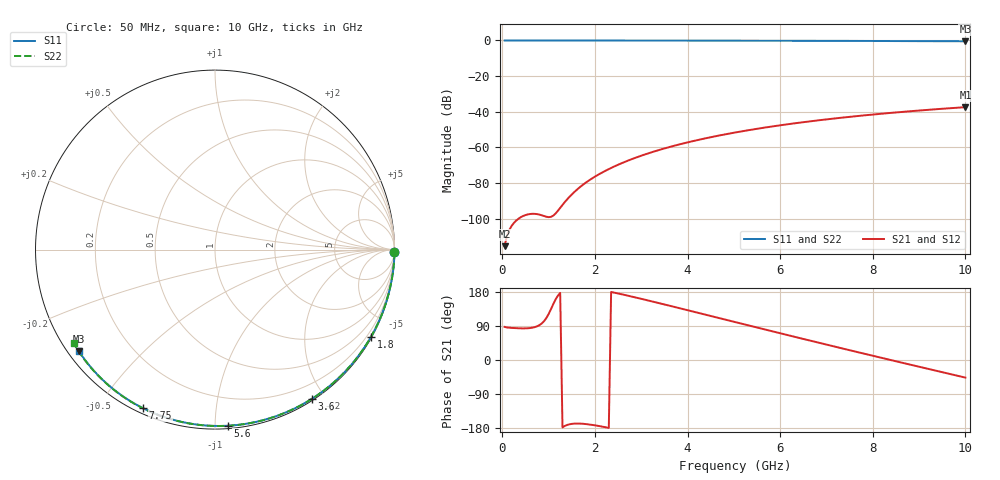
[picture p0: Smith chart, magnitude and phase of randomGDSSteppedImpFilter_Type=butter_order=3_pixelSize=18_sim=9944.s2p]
! freq	dB(S11)	phase(S11)	dB(S12)	phase(S12)
!  dB(S21)	phase(S21)	dB(S22)	phase(S22)
!S-par simulation data
#  GHz  S  DB  R 50
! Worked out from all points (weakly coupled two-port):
!   200 points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, 50 MHz to 10 GHz, reference 50 ohm
!   highest |S21| = -37.40 dB at 10 GHz (marker M1); lowest = -115.4 dB at 50 MHz (marker M2)
!   lowest |S11| = -0.5 dB at 10 GHz (marker M3), VSWR 36.39, Z = 1.53 - j16.6 ohm
!   |S11| at or under -10 dB: nowhere
!   |S22| runs from -0.5 to 0.0 dB; largest |S21 - S12| = 0
!   S11 on the Smith chart (normalised r, x): 50 MHz: open; 1.8 GHz: 0.03, -3.83; 3.6 GHz: 0.02, -1.84; 5.6 GHz: 0.02, -1.07; 7.75 GHz: 0.02, -0.64; 10 GHz: 0.03, -0.33
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0.05  -0.00 -0.8  -115.35 87.4  -115.35 87.4  -0.00 -0.9
0.45  -0.01 -7.4  -98.43 83.4  -98.43 83.4  -0.01 -7.7
0.9  -0.02 -14.8  -98.43 102.3  -98.43 102.3  -0.02 -15.2
1.3  -0.03 -21.3  -92.20 -177.7  -92.20 -177.7  -0.03 -21.9
1.75  -0.04 -28.5  -80.74 -168.4  -80.74 -168.4  -0.04 -29.3
1.8  -0.04 -29.3  -79.78 -169.0  -79.78 -169.0  -0.04 -30.2
1.95  -0.04 -31.6  -77.17 -171.4  -77.17 -171.4  -0.04 -32.6
2.1  -0.04 -34.0  -74.86 -174.4  -74.86 -174.4  -0.04 -35.1
2.3  -0.05 -37.2  -72.12 -179.2  -72.12 -179.2  -0.05 -38.3
2.5  -0.05 -40.3  -69.69 175.6  -69.69 175.6  -0.05 -41.5
2.9  -0.06 -46.5  -65.55 164.4  -65.55 164.4  -0.06 -47.9
3.4  -0.07 -54.1  -61.30 149.6  -61.30 149.6  -0.07 -55.7
3.6  -0.08 -57.1  -59.82 143.6  -59.82 143.6  -0.08 -58.8
4.3  -0.09 -67.5  -55.36 122.3  -55.36 122.3  -0.10 -69.4
5.05  -0.12 -78.2  -51.51 99.4  -51.51 99.4  -0.12 -80.4
5.6  -0.14 -85.9  -49.12 82.7  -49.12 82.7  -0.15 -88.3
6.15  -0.17 -93.4  -47.03 66.1  -47.03 66.1  -0.17 -95.9
6.7  -0.19 -100.8  -45.17 49.6  -45.17 49.6  -0.20 -103.4
7.75  -0.26 -114.5  -42.17 18.5  -42.17 18.5  -0.27 -117.4
8.35  -0.31 -122.2  -40.70 1.0  -40.70 1.0  -0.32 -125.2
9.2  -0.39 -133.0  -38.88 -23.5  -38.88 -23.5  -0.40 -136.2
10  -0.48 -143.2  -37.40 -46.5  -37.40 -46.5  -0.49 -146.5
